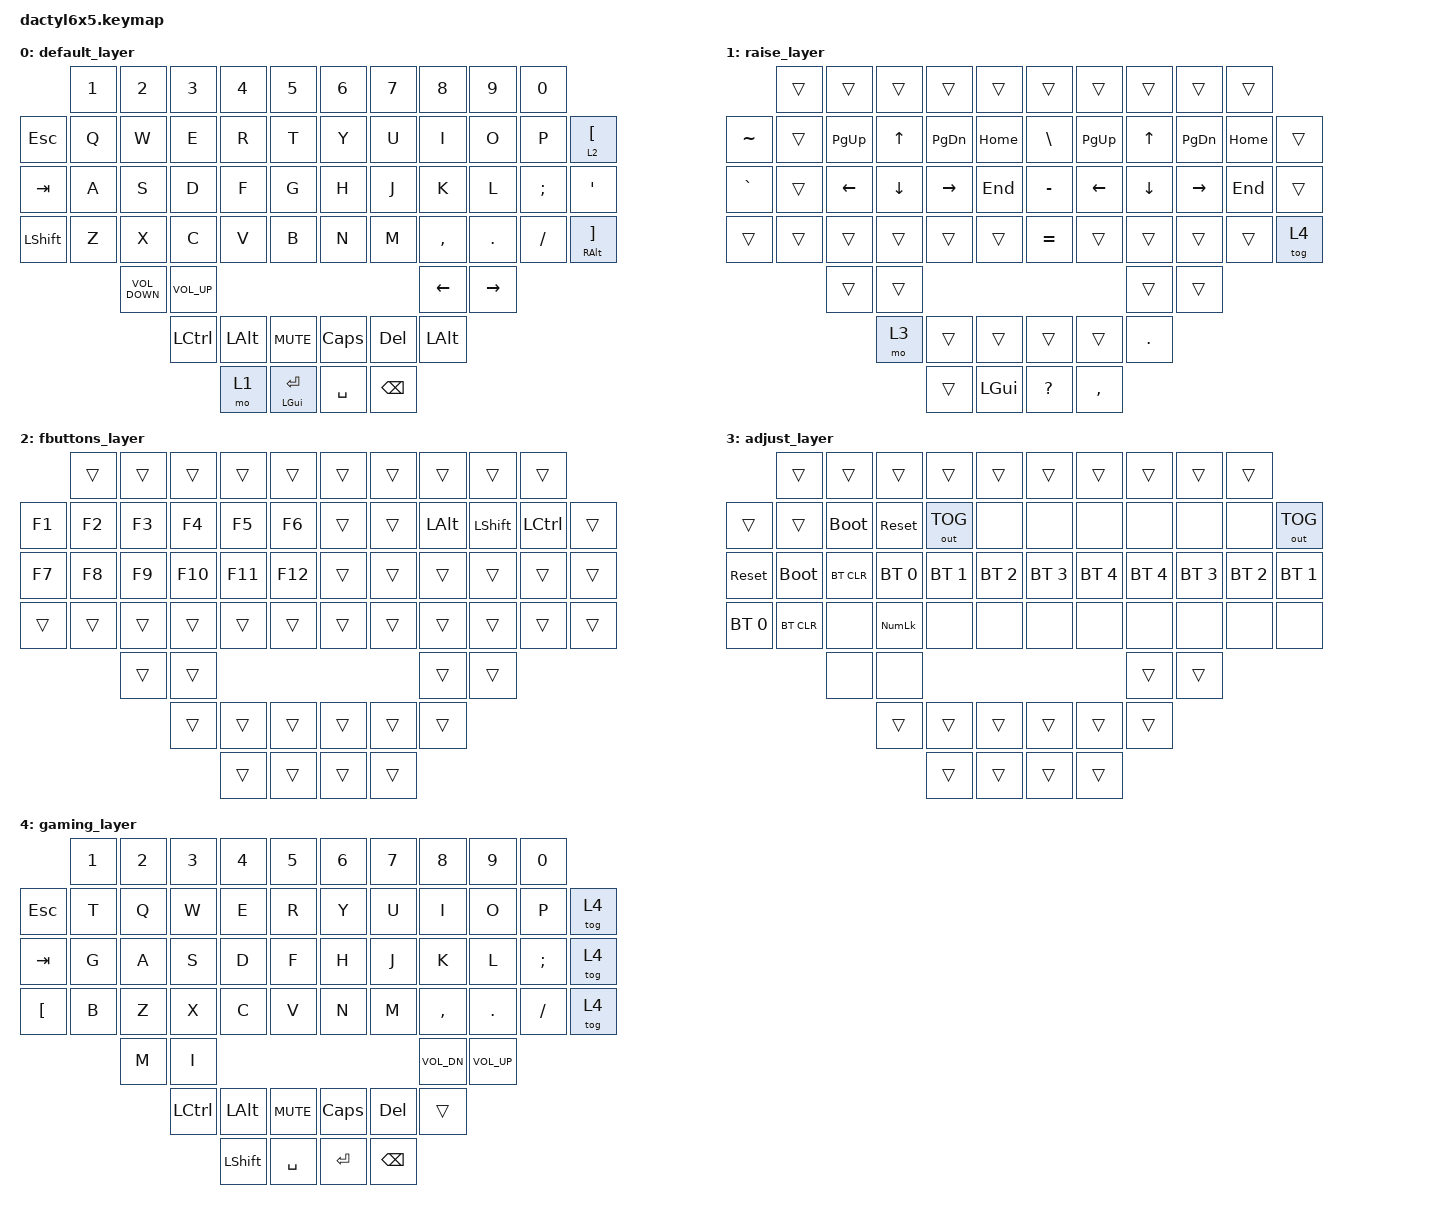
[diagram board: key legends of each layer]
#include <behaviors.dtsi>
#include <dt-bindings/zmk/bt.h>
#include <dt-bindings/zmk/keys.h>
#include <dt-bindings/zmk/outputs.h>

#define DEF 0
#define LWR 1
#define RSE 2
#define FLR 3
#define ADJ 4

&lt { quick_tap_ms = <219>; };

&mt { quick_tap_ms = <219>; };

/ {
    behaviors {
        tdF: tap_dance_lang1 {
            compatible = "zmk,behavior-tap-dance";
            #binding-cells = <0>;
            tapping-term-ms = <100>;
            bindings = <&kp F>, <&kp LG(F11)>;
        };

        tdJ: tap_dance_lang2 {
            compatible = "zmk,behavior-tap-dance";
            #binding-cells = <0>;
            tapping-term-ms = <100>;
            bindings = <&kp J>, <&kp LG(F12)>;
        };

        lh_pht: left_positional_hold_tap {
            compatible = "zmk,behavior-hold-tap";
            #binding-cells = <2>;
            flavor = "tap-unless-interrupted";
            tapping-term-ms = <100>;                        // <---[[produces tap if held longer than tapping-term-ms]]
            quick-tap-ms = <200>;
            bindings = <&kp>, <&kp>;

            hold-trigger-key-positions = <0 1 2 3 4 5>;    // <---[[right-hand keys]]
        };
    };

    combos {
        compatible = "zmk,combos";

        ParaLeft {
            bindings = <&kp LEFT_PARENTHESIS>;
            key-positions = <15 14>;
            timeout-ms = <20>;
            layers = <0>;
        };

        ParaRight {
            bindings = <&kp RIGHT_PARENTHESIS>;
            key-positions = <16 17>;
            timeout-ms = <20>;
            layers = <0>;
        };

        BrakLeft {
            bindings = <&kp LEFT_BRACKET>;
            key-positions = <27 26>;
            timeout-ms = <20>;
            layers = <0>;
        };

        BrakRight {
            bindings = <&kp RIGHT_BRACKET>;
            key-positions = <28 29>;
            timeout-ms = <20>;
            layers = <0>;
        };

        BraceLeft {
            bindings = <&kp LEFT_BRACE>;
            key-positions = <39 38>;
            timeout-ms = <20>;
            layers = <0>;
        };

        BraceRight {
            bindings = <&kp RIGHT_BRACE>;
            key-positions = <40 41>;
            timeout-ms = <20>;
            layers = <0>;
        };

        DoubleQuote {
            bindings = <&kp DOUBLE_QUOTES>;
            key-positions = <26 25>;
            timeout-ms = <20>;
            layers = <0>;
        };

        SingleQuote {
            bindings = <&kp APOSTROPHE>;
            key-positions = <29 30>;
            timeout-ms = <20>;
            layers = <0>;
        };

        //LangRu {
        //    bindings = <&kp LG(F11)>;
        //    key-positions = <0 1>;
        //    timeout-ms = <20>;
        //};
        //LangUs {
        //   bindings = <&kp LG(F12)>;
        //    key-positions = <10 11>;
        //    timeout-ms = <20>;
        //};
        //LangRuL {
        //    bindings = <&kp LG(F11)>;
        //    key-positions = <36 38>;
        //    timeout-ms = <20>;
        //};
        //LangUsL {
        //    bindings = <&kp LG(F12)>;
        //    key-positions = <39 41>;
        //    timeout-ms = <20>;
        //};

        TildaSign {
            bindings = <&kp TILDE>;
            key-positions = <10 22>;
            timeout-ms = <20>;
            layers = <0>;
        };

        GraveSign {
            bindings = <&kp GRAVE>;
            key-positions = <34 22>;
            timeout-ms = <20>;
            layers = <0>;
        };

        MinusSign {
            bindings = <&kp MINUS>;
            key-positions = <14 13>;
            timeout-ms = <20>;
            layers = <0>;
        };

        PlusSign {
            bindings = <&kp PLUS>;
            key-positions = <12 13>;
            timeout-ms = <20>;
            layers = <0>;
        };

        UnderscoreSign {
            bindings = <&kp UNDERSCORE>;
            key-positions = <17 18>;
            timeout-ms = <20>;
            layers = <0>;
        };

        PipeSign {
            bindings = <&kp PIPE>;
            key-positions = <18 19>;
            timeout-ms = <20>;
            layers = <0>;
        };
    };
};

/ {
    keymap {
        compatible = "zmk,keymap";

        default_layer {
            bindings = <
            &kp NUMBER_1  &kp NUMBER_2       &kp NUMBER_3     &kp NUMBER_4  &kp N5          &kp NUMBER_6  &kp N7         &kp N8          &kp N9      &kp N0
&kp ESC     &kp Q         &kp W              &kp E            &kp R         &kp T           &kp Y         &kp U          &kp I           &kp O       &kp P          &lt 2 LEFT_BRACKET
&kp TAB     &kp A         &kp S              &kp D            &kp F         &kp G           &kp H         &kp J          &kp K           &kp L       &kp SEMICOLON  &kp SQT
&kp LSHIFT  &kp Z         &kp X              &kp C            &kp V         &kp B           &kp N         &kp M          &kp COMMA       &kp PERIOD  &kp SLASH      &mt RALT RIGHT_BRACKET
                          &kp C_VOLUME_DOWN  &kp C_VOLUME_UP                                                             &kp LEFT_ARROW  &kp RIGHT

                                             &kp LCTRL        &kp LEFT_ALT  &kp K_MUTE      &kp CAPSLOCK  &kp DELETE     &kp LEFT_ALT
                                                              &mo 1         &mt LGUI RET    &kp SPACE     &kp BACKSPACE
            >;
        };

        raise_layer {
            bindings = <
           &trans  &trans     &trans    &trans     &trans          &trans     &trans     &trans    &trans     &trans
&kp TILDE  &trans  &kp PG_UP  &kp UP    &kp PG_DN  &kp HOME        &kp BSLH   &kp PG_UP  &kp UP    &kp PG_DN  &kp HOME  &trans
&kp GRAVE  &trans  &kp LEFT   &kp DOWN  &kp RIGHT  &kp END         &kp MINUS  &kp LEFT   &kp DOWN  &kp RIGHT  &kp END   &trans
&trans     &trans  &trans     &trans    &trans     &trans          &kp EQUAL  &trans     &trans    &trans     &trans    &tog 4
                   &trans     &trans                                                     &trans    &trans

                              &mo 3     &trans     &trans          &trans     &trans     &kp DOT
                                        &trans     &kp LEFT_GUI    &kp QMARK  &kp COMMA
            >;
        };

        fbuttons_layer {
            bindings = <
        &trans  &trans  &trans   &trans   &trans     &trans  &trans  &trans    &trans     &trans
&kp F1  &kp F2  &kp F3  &kp F4   &kp F5   &kp F6     &trans  &trans  &kp LALT  &kp LSHFT  &kp LCTRL  &trans
&kp F7  &kp F8  &kp F9  &kp F10  &kp F11  &kp F12    &trans  &trans  &trans    &trans     &trans     &trans
&trans  &trans  &trans  &trans   &trans   &trans     &trans  &trans  &trans    &trans     &trans     &trans
                &trans  &trans                                       &trans    &trans

                        &trans   &trans   &trans     &trans  &trans  &trans
                                 &trans   &trans     &trans  &trans
            >;
        };

        adjust_layer {
            bindings = <
              &trans       &trans       &trans        &trans        &trans          &trans        &trans        &trans        &trans        &trans
&trans        &trans       &bootloader  &sys_reset    &out OUT_TOG  &none           &none         &none         &none         &none         &none         &out OUT_TOG
&sys_reset    &bootloader  &bt BT_CLR   &bt BT_SEL 0  &bt BT_SEL 1  &bt BT_SEL 2    &bt BT_SEL 3  &bt BT_SEL 4  &bt BT_SEL 4  &bt BT_SEL 3  &bt BT_SEL 2  &bt BT_SEL 1
&bt BT_SEL 0  &bt BT_CLR   &none        &kp KP_NUM    &none         &none           &none         &none         &none         &none         &none         &none
                           &none        &none                                                                   &trans        &trans

                                        &trans        &trans        &trans          &trans        &trans        &trans
                                                      &trans        &trans          &trans        &trans
            >;
        };

        gaming_layer {
            bindings = <
          &kp N1  &kp N2  &kp N3     &kp N4        &kp N5        &kp N6     &kp N7    &kp N8        &kp N9           &kp N0
&kp ESC   &kp T   &kp Q   &kp W      &kp E         &kp R         &kp Y      &kp U     &kp I         &kp O            &kp P     &tog 4
&kp TAB   &kp G   &kp A   &kp S      &kp D         &kp F         &kp H      &kp J     &kp K         &kp L            &kp SEMI  &tog 4
&kp LBKT  &kp B   &kp Z   &kp X      &kp C         &kp V         &kp N      &kp M     &kp COMMA     &kp DOT          &kp FSLH  &tog 4
                  &kp M   &kp I                                                       &kp C_VOL_DN  &kp C_VOLUME_UP

                          &kp LCTRL  &kp LEFT_ALT  &kp K_MUTE    &kp CAPS   &kp DEL   &trans
                                     &kp LSHFT     &kp SPACE     &kp ENTER  &kp BSPC
            >;
        };
    };
};
